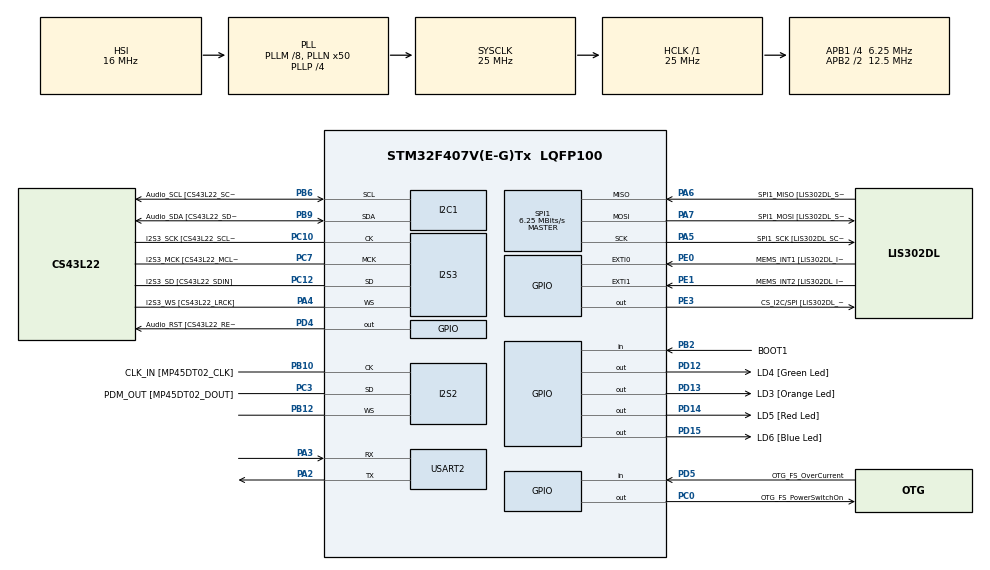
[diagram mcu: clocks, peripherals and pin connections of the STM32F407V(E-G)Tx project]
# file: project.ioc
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I2S2.AudioFreq=I2S_AUDIOFREQ_44K
I2S2.ErrorAudioFreq=0.26 %
I2S2.Mode=I2S_MODE_MASTER_RX
I2S2.RealAudioFreq=44.117 KHz
I2S3.AudioFreq=I2S_AUDIOFREQ_44K
I2S3.ErrorAudioFreq=0.26 %
I2S3.RealAudioFreq=44.117 KHz
Mcu.Family=STM32F4
Mcu.Name=STM32F407V(E-G)Tx
Mcu.Package=LQFP100
NVIC.PriorityGroup=NVIC_PRIORITYGROUP_0
PA10.GPIO_Label=OTG_FS_ID
PA10.GPIO_Mode=GPIO_MODE_AF_PP
PA10.GPIO_PuPd=GPIO_NOPULL
PA10.GPIO_Speed=GPIO_SPEED_FREQ_LOW
PA10.Signal=USB_OTG_FS_ID
PA11.GPIO_Label=OTG_FS_DM
PA11.GPIO_Mode=GPIO_MODE_AF_PP
PA11.GPIO_PuPd=GPIO_NOPULL
PA11.GPIO_Speed=GPIO_SPEED_FREQ_LOW
PA11.Signal=USB_OTG_FS_DM
PA12.GPIO_Label=OTG_FS_DP
PA12.GPIO_Mode=GPIO_MODE_AF_PP
PA12.GPIO_PuPd=GPIO_NOPULL
PA12.GPIO_Speed=GPIO_SPEED_FREQ_LOW
PA12.Signal=USB_OTG_FS_DP
PA13.GPIO_Label=SWDIO
PA13.Signal=SYS_JTMS-SWDIO
PA14.GPIO_Label=SWCLK
PA14.Signal=SYS_JTCK-SWCLK
PA2.Mode=Asynchronous
PA2.Signal=USART2_TX
PA3.Mode=Asynchronous
PA3.Signal=USART2_RX
PA4.GPIO_Label=I2S3_WS [CS43L22_LRCK]
PA4.GPIO_Mode=GPIO_MODE_AF_PP
PA4.GPIO_PuPd=GPIO_NOPULL
PA4.GPIO_Speed=GPIO_SPEED_FREQ_LOW
PA4.Mode=Half_Duplex_Master
PA4.Signal=I2S3_WS
PA5.GPIO_Label=SPI1_SCK [LIS302DL_SCL/SPC]
PA5.GPIO_Mode=GPIO_MODE_AF_PP
PA5.GPIO_PuPd=GPIO_NOPULL
PA5.GPIO_Speed=GPIO_SPEED_FREQ_LOW
PA5.Mode=Full_Duplex_Master
PA5.Signal=SPI1_SCK
PA6.GPIO_Label=SPI1_MISO [LIS302DL_SDO]
PA6.GPIO_Mode=GPIO_MODE_AF_PP
PA6.GPIO_PuPd=GPIO_NOPULL
PA6.GPIO_Speed=GPIO_SPEED_FREQ_LOW
PA6.Mode=Full_Duplex_Master
PA6.Signal=SPI1_MISO
PA7.GPIO_Label=SPI1_MOSI [LIS302DL_SDA/SDI/SDO]
PA7.GPIO_Mode=GPIO_MODE_AF_PP
PA7.GPIO_PuPd=GPIO_NOPULL
PA7.GPIO_Speed=GPIO_SPEED_FREQ_LOW
PA7.Mode=Full_Duplex_Master
PA7.Signal=SPI1_MOSI
PA9.GPIO_Label=VBUS_FS
PA9.GPIO_Mode=GPIO_MODE_INPUT
PA9.GPIO_PuPd=GPIO_NOPULL
PA9.Signal=USB_OTG_FS_VBUS
PB10.GPIO_Label=CLK_IN [MP45DT02_CLK]
PB10.GPIO_Mode=GPIO_MODE_AF_PP
PB10.GPIO_PuPd=GPIO_NOPULL
PB10.GPIO_Speed=GPIO_SPEED_FREQ_LOW
PB10.Mode=Half_Duplex_Master
PB10.Signal=I2S2_CK
PB12.Mode=Half_Duplex_Master
PB12.Signal=I2S2_WS
PB2.GPIO_Label=BOOT1
PB2.GPIO_Mode=GPIO_MODE_INPUT
PB2.GPIO_PuPd=GPIO_NOPULL
PB2.Signal=GPIO_Input
PB3.GPIO_Label=SWO
PB3.Signal=SYS_JTDO-SWO
PB6.GPIO_Label=Audio_SCL [CS43L22_SCL]
PB6.GPIO_Mode=GPIO_MODE_AF_OD
PB6.GPIO_PuPd=GPIO_NOPULL
PB6.GPIO_Speed=GPIO_SPEED_FREQ_LOW
PB6.Mode=I2C
PB6.Signal=I2C1_SCL
PB9.GPIO_Label=Audio_SDA [CS43L22_SDA]
PB9.GPIO_Mode=GPIO_MODE_AF_OD
PB9.GPIO_PuPd=GPIO_NOPULL
PB9.GPIO_Speed=GPIO_SPEED_FREQ_LOW
PB9.Mode=I2C
PB9.Signal=I2C1_SDA
PC0.GPIO_Label=OTG_FS_PowerSwitchOn
PC0.GPIO_PuPd=GPIO_NOPULL
PC0.GPIO_Speed=GPIO_SPEED_FREQ_LOW
PC0.PinState=GPIO_PIN_SET
PC0.Signal=GPIO_Output
PC10.GPIO_Label=I2S3_SCK [CS43L22_SCLK]
PC10.GPIO_Mode=GPIO_MODE_AF_PP
PC10.GPIO_PuPd=GPIO_NOPULL
PC10.GPIO_Speed=GPIO_SPEED_FREQ_LOW
PC10.Mode=Half_Duplex_Master
PC10.Signal=I2S3_CK
PC12.GPIO_Label=I2S3_SD [CS43L22_SDIN]
PC12.GPIO_Mode=GPIO_MODE_AF_PP
PC12.GPIO_PuPd=GPIO_NOPULL
PC12.GPIO_Speed=GPIO_SPEED_FREQ_LOW
PC12.Mode=Half_Duplex_Master
PC12.Signal=I2S3_SD
PC14-OSC32_IN.GPIO_Label=PC14-OSC32_IN
PC14-OSC32_IN.Signal=RCC_OSC32_IN
PC15-OSC32_OUT.GPIO_Label=PC15-OSC32_OUT
PC15-OSC32_OUT.Signal=RCC_OSC32_OUT
PC3.GPIO_Label=PDM_OUT [MP45DT02_DOUT]
PC3.GPIO_Mode=GPIO_MODE_AF_PP
PC3.GPIO_PuPd=GPIO_NOPULL
PC3.GPIO_Speed=GPIO_SPEED_FREQ_LOW
PC3.Mode=Half_Duplex_Master
PC3.Signal=I2S2_SD
PC7.GPIO_Label=I2S3_MCK [CS43L22_MCLK]
PC7.GPIO_Mode=GPIO_MODE_AF_PP
PC7.GPIO_PuPd=GPIO_NOPULL
PC7.GPIO_Speed=GPIO_SPEED_FREQ_LOW
PC7.Mode=Master_Clock_Activated
PC7.Signal=I2S3_MCK
PD12.GPIO_Label=LD4 [Green Led]
PD12.GPIO_PuPd=GPIO_NOPULL
PD12.GPIO_Speed=GPIO_SPEED_FREQ_LOW
PD12.Signal=GPIO_Output
PD13.GPIO_Label=LD3 [Orange Led]
PD13.GPIO_PuPd=GPIO_NOPULL
PD13.GPIO_Speed=GPIO_SPEED_FREQ_LOW
PD13.Signal=GPIO_Output
PD14.GPIO_Label=LD5 [Red Led]
PD14.GPIO_PuPd=GPIO_NOPULL
PD14.GPIO_Speed=GPIO_SPEED_FREQ_LOW
PD14.Signal=GPIO_Output
PD15.GPIO_Label=LD6 [Blue Led]
PD15.GPIO_PuPd=GPIO_NOPULL
PD15.GPIO_Speed=GPIO_SPEED_FREQ_LOW
PD15.Signal=GPIO_Output
PD4.GPIO_Label=Audio_RST [CS43L22_RESET]
PD4.GPIO_PuPd=GPIO_NOPULL
PD4.GPIO_Speed=GPIO_SPEED_FREQ_LOW
PD4.Signal=GPIO_Output
PD5.GPIO_Label=OTG_FS_OverCurrent
PD5.GPIO_Mode=GPIO_MODE_INPUT
PD5.GPIO_PuPd=GPIO_NOPULL
PD5.Signal=GPIO_Input
PE0.GPIO_Label=MEMS_INT1 [LIS302DL_INT1]
PE0.Signal=GPXTI0
PE1.GPIO_Label=MEMS_INT2 [LIS302DL_INT2]
PE1.GPIO_ModeDefaultEXTI=GPIO_MODE_EVT_RISING
PE1.GPIO_PuPd=GPIO_NOPULL
PE1.Signal=GPXTI1
PE3.GPIO_Label=CS_I2C/SPI [LIS302DL_CS_I2C/SPI]
PE3.GPIO_PuPd=GPIO_NOPULL
PE3.GPIO_Speed=GPIO_SPEED_FREQ_LOW
PE3.Signal=GPIO_Output
PH0-OSC_IN.GPIO_Label=PH0-OSC_IN
PH0-OSC_IN.Signal=RCC_OSC_IN
PH1-OSC_OUT.GPIO_Label=PH1-OSC_OUT
PH1-OSC_OUT.Signal=RCC_OSC_OUT
ProjectManager.HeapSize=0x200
ProjectManager.StackSize=0x400
ProjectManager.TargetToolchain=SW4STM32
RCC.48MHZClocksFreq_Value=14285714.285714285
RCC.AHBFreq_Value=25000000
RCC.APB1CLKDivider=RCC_HCLK_DIV4
RCC.APB1Freq_Value=6250000
RCC.APB1TimFreq_Value=12500000
RCC.APB2CLKDivider=RCC_HCLK_DIV2
RCC.APB2Freq_Value=12500000
RCC.APB2TimFreq_Value=25000000
RCC.CortexFreq_Value=25000000
RCC.HCLKFreq_Value=25000000
RCC.HSE_VALUE=8000000
RCC.HSI_VALUE=16000000
RCC.LSE_VALUE=32768
RCC.PLLM=8
RCC.PLLN=50
RCC.PLLP=RCC_PLLP_DIV4
RCC.PLLQ=7
RCC.SYSCLKFreq_VALUE=25000000
RCC.SYSCLKSource=RCC_SYSCLKSOURCE_PLLCLK
RCC.VCOOutputFreq_Value=100000000
SPI1.CalculateBaudRate=6.25 MBits/s
SPI1.Mode=SPI_MODE_MASTER
board=STM32F407G-DISC1

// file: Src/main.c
/**
 ******************************************************************************
 * File Name          : main.c
 * Description        : Main program body
 ******************************************************************************
 *
 * COPYRIGHT(c) 2559 STMicroelectronics
 *
 * Redistribution and use in source and binary forms, with or without modification,
 * are permitted provided that the following conditions are met:
 *   1. Redistributions of source code must retain the above copyright notice,
 *      this list of conditions and the following disclaimer.
 *   2. Redistributions in binary form must reproduce the above copyright notice,
 *      this list of conditions and the following disclaimer in the documentation
 *      and/or other materials provided with the distribution.
 *   3. Neither the name of STMicroelectronics nor the names of its contributors
 *      may be used to endorse or promote products derived from this software
 *      without specific prior written permission.
 *
 * THIS SOFTWARE IS PROVIDED BY THE COPYRIGHT HOLDERS AND CONTRIBUTORS "AS IS"
 * AND ANY EXPRESS OR IMPLIED WARRANTIES, INCLUDING, BUT NOT LIMITED TO, THE
 * IMPLIED WARRANTIES OF MERCHANTABILITY AND FITNESS FOR A PARTICULAR PURPOSE ARE
 * DISCLAIMED. IN NO EVENT SHALL THE COPYRIGHT HOLDER OR CONTRIBUTORS BE LIABLE
 * FOR ANY DIRECT, INDIRECT, INCIDENTAL, SPECIAL, EXEMPLARY, OR CONSEQUENTIAL
 * DAMAGES (INCLUDING, BUT NOT LIMITED TO, PROCUREMENT OF SUBSTITUTE GOODS OR
 * SERVICES; LOSS OF USE, DATA, OR PROFITS; OR BUSINESS INTERRUPTION) HOWEVER
 * CAUSED AND ON ANY THEORY OF LIABILITY, WHETHER IN CONTRACT, STRICT LIABILITY,
 * OR TORT (INCLUDING NEGLIGENCE OR OTHERWISE) ARISING IN ANY WAY OUT OF THE USE
 * OF THIS SOFTWARE, EVEN IF ADVISED OF THE POSSIBILITY OF SUCH DAMAGE.
 *
 ******************************************************************************
 */
#include "main.h"
#include "stm32f4xx_hal.h"

#define PDM_BUFFER_SIZE 20
#define PCM_BUFFER_SIZE 2500
#define LEAKY_KEEP_RATE 0.95
#define UART_DEBUG_TICK_RATE 100
#define PDM_BLOCK_SIZE_BITS 16

I2C_HandleTypeDef hi2c1;

I2S_HandleTypeDef hi2s2;
I2S_HandleTypeDef hi2s3;

SPI_HandleTypeDef hspi1;

UART_HandleTypeDef huart2;

/* USER CODE BEGIN PV */
/* Private variables ---------------------------------------------------------*/
uint8_t soundArg[2];
uint16_t Istr[1];
int xPos = 0;
int yPos = 0;

/* USER CODE END PV */

void SystemClock_Config(void);
void Error_Handler(void);
static void MX_GPIO_Init(void);
static void MX_I2C1_Init(void);
static void MX_I2S2_Init(void);
static void MX_I2S3_Init(void);
static void MX_SPI1_Init(void);
static void MX_USART2_UART_Init(void);

float absFloat(float in) {
	return in < 0 ? -in : in;
}

void Update(int p) {
	switch (p) {
	case 0:
		HAL_UART_Transmit(&huart2, "RESET ALL TRACK !!!", 19, 100000);
		HAL_UART_Transmit(&huart2, "\n\r", 2, 100000);
		xPos = 0;
		yPos = 0;
		break;
	case 1:
		HAL_UART_Transmit(&huart2, "LEFT", 4, 100000);
		HAL_UART_Transmit(&huart2, "\n\r", 2, 100000);
		xPos -= 1;
		yPos += 0;
		break;
	case 2:
		HAL_UART_Transmit(&huart2, "LEFT-UP", 7, 100000);
		HAL_UART_Transmit(&huart2, "\n\r", 2, 100000);
		xPos -= 1;
		yPos += 1;
		break;
	case 3:
		HAL_UART_Transmit(&huart2, "UP", 2, 100000);
		HAL_UART_Transmit(&huart2, "\n\r", 2, 100000);
		xPos += 0;
		yPos += 1;
		break;
	case 4:
		HAL_UART_Transmit(&huart2, "RIGHT-UP", 8, 100000);
		HAL_UART_Transmit(&huart2, "\n\r", 2, 100000);
		xPos += 1;
		yPos += 1;
		break;
	case 5:
		HAL_UART_Transmit(&huart2, "RIGHT", 5, 100000);
		HAL_UART_Transmit(&huart2, "\n\r", 2, 100000);
		xPos += 1;
		yPos += 0;
		break;
	case 6:
		HAL_UART_Transmit(&huart2, "RIGHT-DOWN", 10, 100000);
		HAL_UART_Transmit(&huart2, "\n\r", 2, 100000);
		xPos += 1;
		yPos -= 1;
		break;
	case 7:
		HAL_UART_Transmit(&huart2, "DOWN", 4, 100000);
		HAL_UART_Transmit(&huart2, "\n\r", 2, 100000);
		xPos += 0;
		yPos -= 1;
		break;
	case 8:
		HAL_UART_Transmit(&huart2, "LEFT-RIGHT", 10, 100000);
		HAL_UART_Transmit(&huart2, "\n\r", 2, 100000);
		xPos -= 1;
		yPos -= 1;
		break;
	default :
		HAL_UART_Transmit(&huart2, "STOP", 4, 100000);
		HAL_UART_Transmit(&huart2, "\n\r", 2, 100000);
		xPos += 0;
		yPos += 0;
		break;
	}
}

void PlaySound(int n) {

	// Off
	soundArg[0] = 0x1E;
	soundArg[1] = 0x20;
	HAL_I2C_Master_Transmit(&hi2c1, 0x94, soundArg, 2, 50);

	// Change note
	soundArg[0] = 0x1C;
	soundArg[1] = 0x1F;
	HAL_I2C_Master_Transmit(&hi2c1, 0x94, soundArg, 2, 50);

	// On
	soundArg[0] = 0x1E;
	soundArg[1] = 0xE0;
	HAL_I2C_Master_Transmit(&hi2c1, 0x94, soundArg, 2, 50);

	int i;
	for (i = 0; i < n; i++)
		HAL_I2S_Transmit(&hi2s3, Istr, 200, 10);
}

void InitAcc() {
	uint8_t address;
	uint8_t data;

	HAL_GPIO_WritePin(GPIOE, GPIO_PIN_3, GPIO_PIN_RESET);

	address = 0x20;
	HAL_SPI_Transmit(&hspi1, &address, 1, 50);

	data = 0x67;
	HAL_SPI_Transmit(&hspi1, &data, 1, 50);

	HAL_GPIO_WritePin(GPIOE, GPIO_PIN_3, GPIO_PIN_SET);
}

void InitSound() {

	Istr[0] = 0;
	//not sure if this is needed but i just put it here
	if (HAL_I2S_Transmit(&hi2s3, Istr, 0x10, 10) != HAL_OK) {
		HAL_GPIO_WritePin(GPIOD, GPIO_PIN_12, 1);
	}
	HAL_GPIO_WritePin(GPIOD, GPIO_PIN_4, 0);  //Reset is set down
	//confirmation LED
	HAL_Delay(500);
	//Initialization sequence for CS43L22:
	HAL_GPIO_WritePin(GPIOD, GPIO_PIN_4, 1); //Reset is set Up (Power CS43L22)
	HAL_Delay(500);
	soundArg[0] = 0x00;
	soundArg[1] = 0x99;
	//check if transfer failed. If so: turn on Red LED
	if (HAL_I2C_Master_Transmit(&hi2c1, 0x94, soundArg, 2, 50) != HAL_OK) {
		HAL_GPIO_WritePin(GPIOD, GPIO_PIN_13, 1);
	}
	soundArg[0] = 0x47;
	soundArg[1] = 0x80;
	if (HAL_I2C_Master_Transmit(&hi2c1, 0x94, soundArg, 2, 50) != HAL_OK) {
		HAL_GPIO_WritePin(GPIOD, GPIO_PIN_14, 1);
	}
	soundArg[0] = 0x32;
	soundArg[1] = 0x80; // 0xBB or 0x80
	if (HAL_I2C_Master_Transmit(&hi2c1, 0x94, soundArg, 2, 50) != HAL_OK) {
		HAL_GPIO_WritePin(GPIOD, GPIO_PIN_15, 1);
	}
	soundArg[0] = 0x32;
	soundArg[1] = 0x00; // 0x3B or 0x00
	if (HAL_I2C_Master_Transmit(&hi2c1, 0x94, soundArg, 2, 50) != HAL_OK) {
		HAL_GPIO_WritePin(GPIOD, GPIO_PIN_12, 1);
		HAL_GPIO_WritePin(GPIOD, GPIO_PIN_13, 1);
	}
	soundArg[0] = 0x00;
	soundArg[1] = 0x00;
	if (HAL_I2C_Master_Transmit(&hi2c1, 0x94, soundArg, 2, 50) != HAL_OK) {
		HAL_GPIO_WritePin(GPIOD, GPIO_PIN_12, 1);
		HAL_GPIO_WritePin(GPIOD, GPIO_PIN_14, 1);
	}
	soundArg[0] = 0x06;
	soundArg[1] = 0x00;
	if (HAL_I2C_Master_Transmit(&hi2c1, 0x94, soundArg, 2, 50) != HAL_OK) {
		HAL_GPIO_WritePin(GPIOD, GPIO_PIN_12, 1);
		HAL_GPIO_WritePin(GPIOD, GPIO_PIN_14, 1);
	}
	soundArg[0] = 0x02;
	soundArg[1] = 0x9E;
	if (HAL_I2C_Master_Transmit(&hi2c1, 0x94, soundArg, 2, 50) != HAL_OK) {
		HAL_GPIO_WritePin(GPIOD, GPIO_PIN_13, 1);
		HAL_GPIO_WritePin(GPIOD, GPIO_PIN_14, 1);
	}
}

/* USER CODE BEGIN PFP */
/* Private function prototypes -----------------------------------------------*/

/* USER CODE END PFP */

int main(void) {

	/* USER CODE BEGIN 1 */
	uint8_t i;
	uint16_t PDM_buffer[PDM_BUFFER_SIZE]; // Buffer for pdm value from hi2s2 (Mic)
	uint16_t PDM_value = 0;
	uint8_t PCM_value = 0;    // For keeping pcm value calculated from pdm_value
							  // value range is 0-16, 8-bit is chosen because it
							  // can store 0-255
	uint16_t PCM_count = 0;

	char uartTempDisplay_buffer[100];

	float leaky_PCM_buffer = 0.0;    // Fast Estimation of moving average of PDM
	float leaky_AMP_buffer = 0.0; // Fast Estimation of moving average of abs(PCM)

	double PCM_square = 0;
	float maxAmp = 0;
	/* USER CODE END 1 */

	/* MCU Configuration----------------------------------------------------------*/

	/* Reset of all peripherals, Initializes the Flash interface and the Systick. */
	HAL_Init();

	/* Configure the system clock */
	SystemClock_Config();

	/* Initialize all configured peripherals */
	MX_GPIO_Init();
	MX_I2C1_Init();
	MX_I2S2_Init();
	MX_I2S3_Init();
	MX_SPI1_Init();
	MX_USART2_UART_Init();

	/* USER CODE BEGIN 2 */
	InitAcc();
	InitSound();

	uint8_t address;
	uint8_t data;
	int8_t x, y, z = 0;

	uint8_t bit1;
	uint8_t bit0;

	int numTrack;

	HAL_UART_Transmit(&huart2, "\t\tThe Position of You", 21, 100000);
	HAL_UART_Transmit(&huart2, "\n\r", 2, 100000);
	HAL_UART_Transmit(&huart2,
			"You can INPUT 01 to 99 only if you input other ", 47, 100000);
	HAL_UART_Transmit(&huart2, "\n\r", 2, 100000);
	HAL_UART_Transmit(&huart2, "No. of your track 1: ", 22, 100000);
	HAL_UART_Receive(&huart2, &bit1, 1, 100000);
	HAL_UART_Transmit(&huart2, &bit1, 1, 100000);
	HAL_UART_Transmit(&huart2, "\n\r", 2, 100000);
	HAL_UART_Transmit(&huart2, "No. of your track 0: ", 22, 100000);
	HAL_UART_Receive(&huart2, &bit0, 1, 100000);
	HAL_UART_Transmit(&huart2, &bit0, 1, 100000);
	HAL_UART_Transmit(&huart2, "\n\r", 2, 100000);
	numTrack = (bit1 - '0') * 10 + (bit0 - '0');

	HAL_UART_Transmit(&huart2, "Your will tend board to choose position of your track.\n\r", 56, 100000);
	HAL_UART_Transmit(&huart2, "You can blow microphone to RESET track.\n\r", 41, 100000);

	int num = 0;
	int pos = -1;

	int check = 0;

	/* USER CODE END 2 */

	/* Infinite loop */
	while (1) {

		/* USER CODE BEGIN 3 */
		//Acc---------------------------------------------------------------
		HAL_GPIO_WritePin(GPIOE, GPIO_PIN_3, GPIO_PIN_RESET);
		address = 0x29 + 0x80;
		HAL_SPI_Transmit(&hspi1, &address, 1, 50);
		HAL_SPI_Receive(&hspi1, &x, 1, 50);
		address = 0x2B + 0x80;
		HAL_SPI_Transmit(&hspi1, &address, 1, 50);
		HAL_SPI_Receive(&hspi1, &y, 1, 50);
		address = 0x2D + 0x80;
		HAL_SPI_Transmit(&hspi1, &address, 1, 50);
		HAL_SPI_Receive(&hspi1, &z, 1, 50);
		//LEFT
		if (x <= -15) {
			HAL_GPIO_WritePin(GPIOD, GPIO_PIN_12, GPIO_PIN_SET);

			//UP
			if (y >= 15) {
				HAL_GPIO_WritePin(GPIOD, GPIO_PIN_15, GPIO_PIN_RESET);
				HAL_GPIO_WritePin(GPIOD, GPIO_PIN_13, GPIO_PIN_SET);
				pos = 2;
			} else if (y <= -15) {
				HAL_GPIO_WritePin(GPIOD, GPIO_PIN_13, GPIO_PIN_RESET);
				HAL_GPIO_WritePin(GPIOD, GPIO_PIN_15, GPIO_PIN_SET);
				pos = 8;
			} else {
				pos = 1;
				HAL_GPIO_WritePin(GPIOD, GPIO_PIN_15, GPIO_PIN_RESET);
				HAL_GPIO_WritePin(GPIOD, GPIO_PIN_13, GPIO_PIN_RESET);
			}

		} else {
			HAL_GPIO_WritePin(GPIOD, GPIO_PIN_12, GPIO_PIN_RESET);
		}
		//RIGHT
		if (x >= 15) {
			HAL_GPIO_WritePin(GPIOD, GPIO_PIN_14, GPIO_PIN_SET);

			//UPs
			if (y >= 15) {
				HAL_GPIO_WritePin(GPIOD, GPIO_PIN_15, GPIO_PIN_RESET);
				HAL_GPIO_WritePin(GPIOD, GPIO_PIN_13, GPIO_PIN_SET);
				pos = 4;
			} else if (y <= -15) {
				HAL_GPIO_WritePin(GPIOD, GPIO_PIN_13, GPIO_PIN_RESET);
				HAL_GPIO_WritePin(GPIOD, GPIO_PIN_15, GPIO_PIN_SET);
				pos = 6;
			} else {
				pos = 5;
				HAL_GPIO_WritePin(GPIOD, GPIO_PIN_15, GPIO_PIN_RESET);
				HAL_GPIO_WritePin(GPIOD, GPIO_PIN_13, GPIO_PIN_RESET);
			}
		} else {
			HAL_GPIO_WritePin(GPIOD, GPIO_PIN_14, GPIO_PIN_RESET);
		}
		//UP
		if (y >= 15 && x > -15 && x < 15) {
			HAL_GPIO_WritePin(GPIOD, GPIO_PIN_13, GPIO_PIN_SET);
			pos = 3;
		} else if (x > -15 && x < 15) {
			HAL_GPIO_WritePin(GPIOD, GPIO_PIN_13, GPIO_PIN_RESET);
		}
		//DOWN
		if (y <= -15 && x > -15 && x < 15) {
			HAL_GPIO_WritePin(GPIOD, GPIO_PIN_15, GPIO_PIN_SET);
			pos = 7;
		} else if (x > -15 && x < 15) {
			HAL_GPIO_WritePin(GPIOD, GPIO_PIN_15, GPIO_PIN_RESET);
		}

		if(x > -15 && x < 15 && y > -15 && y < 15) {
			pos = -1;
			HAL_GPIO_WritePin(GPIOD, GPIO_PIN_12, GPIO_PIN_RESET);
			HAL_GPIO_WritePin(GPIOD, GPIO_PIN_13, GPIO_PIN_RESET);
			HAL_GPIO_WritePin(GPIOD, GPIO_PIN_14, GPIO_PIN_RESET);
			HAL_GPIO_WritePin(GPIOD, GPIO_PIN_15, GPIO_PIN_RESET);
		}

		HAL_GPIO_WritePin(GPIOE, GPIO_PIN_3, GPIO_PIN_SET);

		HAL_I2S_Receive(&hi2s2, PDM_buffer, PDM_BUFFER_SIZE, 1000);
		for (i = 0; i < PDM_BUFFER_SIZE; i++) {
			PCM_value = -PDM_BLOCK_SIZE_BITS / 2;
			PDM_value = PDM_buffer[i];
			// calculate PCM value
			while (PDM_value != 0)    // while pdm_value still have 1s in binary
			{
				PCM_value++;
				PDM_value ^= PDM_value & -PDM_value; // remove left most 1 in binary
			}
			leaky_PCM_buffer += PCM_value;
			leaky_PCM_buffer *= LEAKY_KEEP_RATE;
			leaky_AMP_buffer += absFloat(leaky_PCM_buffer);
			leaky_AMP_buffer *= LEAKY_KEEP_RATE;
		}
		PCM_count++;
		if (maxAmp < leaky_AMP_buffer)
			maxAmp = leaky_AMP_buffer;
		PCM_square += (leaky_AMP_buffer / 2500) * leaky_AMP_buffer;
		if (PCM_count == 2500) {
			if (maxAmp > 70000) {
				num = 0;
				Update(0);
				PlaySound(1000);
			}
			PCM_count = 0;
			PCM_square = 0;
			maxAmp = 0;
		}

		if (HAL_GPIO_ReadPin(GPIOA, GPIO_PIN_0) && check == 0) {
			num++;
			Update(pos);
			check = 1;
		}

		if (HAL_GPIO_ReadPin(GPIOA, GPIO_PIN_0) == 0 && check == 1) {
			check = 0;
		}

		if (num == numTrack) {
			HAL_UART_Transmit(&huart2,
					"YEAH !!! FINISH !!!\n\r   Your Position is ", 41, 100000);
			if (xPos < 0 && yPos == 0)
				HAL_UART_Transmit(&huart2, "// WEST \\ ", 11, 100000);
			else if (xPos < 0 && yPos > 0)
				HAL_UART_Transmit(&huart2, "// WEST-NORTH \\ ", 17, 100000);
			else if (xPos == 0 && yPos > 0)
				HAL_UART_Transmit(&huart2, "// NORTH \\ ", 12, 100000);
			else if (xPos > 0 && yPos > 0)
				HAL_UART_Transmit(&huart2, "// EAST-NORTH \\ ", 17, 100000);
			else if (xPos > 0 && yPos == 0)
				HAL_UART_Transmit(&huart2, "// EAST \\ ", 11, 100000);
			else if (xPos > 0 && yPos < 0)
				HAL_UART_Transmit(&huart2, "// EAST-SOUTH \\ ", 17, 100000);
			else if (xPos == 0 && yPos < 0)
				HAL_UART_Transmit(&huart2, "// SOUTH \\ ", 12, 100000);
			else if (xPos < 0 && yPos < 0)
				HAL_UART_Transmit(&huart2, "// WEST-SOUTH \\ ", 17, 100000);
			else
				HAL_UART_Transmit(&huart2, "// SAME POSITION \\ ", 22, 100000);

			HAL_UART_Transmit(&huart2, " From Start\n\r", 14, 100000);

			HAL_Delay(250);
			PlaySound(200);
			HAL_Delay(250);
			PlaySound(200);
			HAL_Delay(250);
			PlaySound(200);
			HAL_Delay(250);

			HAL_UART_Transmit(&huart2, "\n\r", 2, 100000);
			HAL_UART_Transmit(&huart2,
					"---------------------------------------------------------------------", 70,
					100000);
			HAL_UART_Transmit(&huart2, "\n\r", 2, 100000);
			HAL_UART_Transmit(&huart2,
					"If you want try again, you will click RESET button on your board.",
					65, 100000);
			HAL_UART_Transmit(&huart2, "\n\r", 2, 100000);
			HAL_UART_Transmit(&huart2,
					"---------------------------------------------------------------------", 70,
					100000);
			HAL_UART_Transmit(&huart2, "\n\r", 2, 100000);
			break;
		}

	}
}
/* USER CODE END 3 */

/** System Clock Configuration
 */
void SystemClock_Config(void) {

	RCC_OscInitTypeDef RCC_OscInitStruct;
	RCC_ClkInitTypeDef RCC_ClkInitStruct;
	RCC_PeriphCLKInitTypeDef PeriphClkInitStruct;

	/**Configure the main internal regulator output voltage
	 */
	__HAL_RCC_PWR_CLK_ENABLE()
	;

	__HAL_PWR_VOLTAGESCALING_CONFIG(PWR_REGULATOR_VOLTAGE_SCALE1);

	/**Initializes the CPU, AHB and APB busses clocks
	 */
	RCC_OscInitStruct.OscillatorType = RCC_OSCILLATORTYPE_HSI;
	RCC_OscInitStruct.HSIState = RCC_HSI_ON;
	RCC_OscInitStruct.HSICalibrationValue = 16;
	RCC_OscInitStruct.PLL.PLLState = RCC_PLL_ON;
	RCC_OscInitStruct.PLL.PLLSource = RCC_PLLSOURCE_HSI;
	RCC_OscInitStruct.PLL.PLLM = 8;
	RCC_OscInitStruct.PLL.PLLN = 50;
	RCC_OscInitStruct.PLL.PLLP = RCC_PLLP_DIV4;
	RCC_OscInitStruct.PLL.PLLQ = 7;
	if (HAL_RCC_OscConfig(&RCC_OscInitStruct) != HAL_OK) {
		Error_Handler();
	}

	/**Initializes the CPU, AHB and APB busses clocks
	 */
	RCC_ClkInitStruct.ClockType = RCC_CLOCKTYPE_HCLK | RCC_CLOCKTYPE_SYSCLK
			| RCC_CLOCKTYPE_PCLK1 | RCC_CLOCKTYPE_PCLK2;
	RCC_ClkInitStruct.SYSCLKSource = RCC_SYSCLKSOURCE_PLLCLK;
	RCC_ClkInitStruct.AHBCLKDivider = RCC_SYSCLK_DIV1;
	RCC_ClkInitStruct.APB1CLKDivider = RCC_HCLK_DIV4;
	RCC_ClkInitStruct.APB2CLKDivider = RCC_HCLK_DIV2;

	if (HAL_RCC_ClockConfig(&RCC_ClkInitStruct, FLASH_LATENCY_0) != HAL_OK) {
		Error_Handler();
	}

	PeriphClkInitStruct.PeriphClockSelection = RCC_PERIPHCLK_I2S;
	PeriphClkInitStruct.PLLI2S.PLLI2SN = 192;
	PeriphClkInitStruct.PLLI2S.PLLI2SR = 2;
	if (HAL_RCCEx_PeriphCLKConfig(&PeriphClkInitStruct) != HAL_OK) {
		Error_Handler();
	}

	/**Configure the Systick interrupt time
	 */
	HAL_SYSTICK_Config(HAL_RCC_GetHCLKFreq() / 1000);

	/**Configure the Systick
	 */
	HAL_SYSTICK_CLKSourceConfig(SYSTICK_CLKSOURCE_HCLK);

	/* SysTick_IRQn interrupt configuration */
	HAL_NVIC_SetPriority(SysTick_IRQn, 0, 0);
}

/* I2C1 init function */
static void MX_I2C1_Init(void) {

	hi2c1.Instance = I2C1;
	hi2c1.Init.ClockSpeed = 100000;
	hi2c1.Init.DutyCycle = I2C_DUTYCYCLE_2;
	hi2c1.Init.OwnAddress1 = 0;
	hi2c1.Init.AddressingMode = I2C_ADDRESSINGMODE_7BIT;
	hi2c1.Init.DualAddressMode = I2C_DUALADDRESS_DISABLE;
	hi2c1.Init.OwnAddress2 = 0;
	hi2c1.Init.GeneralCallMode = I2C_GENERALCALL_DISABLE;
	hi2c1.Init.NoStretchMode = I2C_NOSTRETCH_DISABLE;
	if (HAL_I2C_Init(&hi2c1) != HAL_OK) {
		Error_Handler();
	}

}

/* I2S2 init function */
static void MX_I2S2_Init(void) {

	hi2s2.Instance = SPI2;
	hi2s2.Init.Mode = I2S_MODE_MASTER_RX;
	hi2s2.Init.Standard = I2S_STANDARD_PHILIPS;
	hi2s2.Init.DataFormat = I2S_DATAFORMAT_16B;
	hi2s2.Init.MCLKOutput = I2S_MCLKOUTPUT_DISABLE;
	hi2s2.Init.AudioFreq = I2S_AUDIOFREQ_44K;
	hi2s2.Init.CPOL = I2S_CPOL_LOW;
	hi2s2.Init.ClockSource = I2S_CLOCK_PLL;
	hi2s2.Init.FullDuplexMode = I2S_FULLDUPLEXMODE_DISABLE;
	if (HAL_I2S_Init(&hi2s2) != HAL_OK) {
		Error_Handler();
	}

}

/* I2S3 init function */
static void MX_I2S3_Init(void) {

	hi2s3.Instance = SPI3;
	hi2s3.Init.Mode = I2S_MODE_MASTER_TX;
	hi2s3.Init.Standard = I2S_STANDARD_PHILIPS;
	hi2s3.Init.DataFormat = I2S_DATAFORMAT_16B;
	hi2s3.Init.MCLKOutput = I2S_MCLKOUTPUT_ENABLE;
	hi2s3.Init.AudioFreq = I2S_AUDIOFREQ_44K;
	hi2s3.Init.CPOL = I2S_CPOL_LOW;
	hi2s3.Init.ClockSource = I2S_CLOCK_PLL;
	hi2s3.Init.FullDuplexMode = I2S_FULLDUPLEXMODE_DISABLE;
	if (HAL_I2S_Init(&hi2s3) != HAL_OK) {
		Error_Handler();
	}

}

/* SPI1 init function */
static void MX_SPI1_Init(void) {

	hspi1.Instance = SPI1;
	hspi1.Init.Mode = SPI_MODE_MASTER;
	hspi1.Init.Direction = SPI_DIRECTION_2LINES;
	hspi1.Init.DataSize = SPI_DATASIZE_8BIT;
	hspi1.Init.CLKPolarity = SPI_POLARITY_LOW;
	hspi1.Init.CLKPhase = SPI_PHASE_1EDGE;
	hspi1.Init.NSS = SPI_NSS_SOFT;
	hspi1.Init.BaudRatePrescaler = SPI_BAUDRATEPRESCALER_2;
	hspi1.Init.FirstBit = SPI_FIRSTBIT_MSB;
	hspi1.Init.TIMode = SPI_TIMODE_DISABLE;
	hspi1.Init.CRCCalculation = SPI_CRCCALCULATION_DISABLE;
	hspi1.Init.CRCPolynomial = 10;
	if (HAL_SPI_Init(&hspi1) != HAL_OK) {
		Error_Handler();
	}

}

/* USART2 init function */
static void MX_USART2_UART_Init(void) {

	huart2.Instance = USART2;
	huart2.Init.BaudRate = 115200;
	huart2.Init.WordLength = UART_WORDLENGTH_8B;
	huart2.Init.StopBits = UART_STOPBITS_1;
	huart2.Init.Parity = UART_PARITY_NONE;
	huart2.Init.Mode = UART_MODE_TX_RX;
	huart2.Init.HwFlowCtl = UART_HWCONTROL_NONE;
	huart2.Init.OverSampling = UART_OVERSAMPLING_16;
	if (HAL_UART_Init(&huart2) != HAL_OK) {
		Error_Handler();
	}

}

/** Configure pins as
 * Analog
 * Input
 * Output
 * EVENT_OUT
 * EXTI
 PA9   ------> USB_OTG_FS_VBUS
 PA10   ------> USB_OTG_FS_ID
 PA11   ------> USB_OTG_FS_DM
 PA12   ------> USB_OTG_FS_DP
 */
static void MX_GPIO_Init(void) {

	GPIO_InitTypeDef GPIO_InitStruct;

	/* GPIO Ports Clock Enable */
	__HAL_RCC_GPIOE_CLK_ENABLE()
	;
	__HAL_RCC_GPIOC_CLK_ENABLE()
	;
	__HAL_RCC_GPIOH_CLK_ENABLE()
	;
	__HAL_RCC_GPIOA_CLK_ENABLE()
	;
	__HAL_RCC_GPIOB_CLK_ENABLE()
	;
	__HAL_RCC_GPIOD_CLK_ENABLE()
	;

	/*Configure GPIO pin Output Level */
	HAL_GPIO_WritePin(CS_I2C_SPI_GPIO_Port, CS_I2C_SPI_Pin, GPIO_PIN_RESET);

	/*Configure GPIO pin Output Level */
	HAL_GPIO_WritePin(OTG_FS_PowerSwitchOn_GPIO_Port, OTG_FS_PowerSwitchOn_Pin,
			GPIO_PIN_SET);

	/*Configure GPIO pin Output Level */
	HAL_GPIO_WritePin(GPIOD,
	LD4_Pin | LD3_Pin | LD5_Pin | LD6_Pin | Audio_RST_Pin, GPIO_PIN_RESET);

	/*Configure GPIO pin : CS_I2C_SPI_Pin */
	GPIO_InitStruct.Pin = CS_I2C_SPI_Pin;
	GPIO_InitStruct.Mode = GPIO_MODE_OUTPUT_PP;
	GPIO_InitStruct.Pull = GPIO_NOPULL;
	GPIO_InitStruct.Speed = GPIO_SPEED_FREQ_LOW;
	HAL_GPIO_Init(CS_I2C_SPI_GPIO_Port, &GPIO_InitStruct);

	/*Configure GPIO pin : OTG_FS_PowerSwitchOn_Pin */
	GPIO_InitStruct.Pin = OTG_FS_PowerSwitchOn_Pin;
	GPIO_InitStruct.Mode = GPIO_MODE_OUTPUT_PP;
	GPIO_InitStruct.Pull = GPIO_NOPULL;
	GPIO_InitStruct.Speed = GPIO_SPEED_FREQ_LOW;
	HAL_GPIO_Init(OTG_FS_PowerSwitchOn_GPIO_Port, &GPIO_InitStruct);

	/*Configure GPIO pin : BOOT1_Pin */
	GPIO_InitStruct.Pin = BOOT1_Pin;
	GPIO_InitStruct.Mode = GPIO_MODE_INPUT;
	GPIO_InitStruct.Pull = GPIO_NOPULL;
	HAL_GPIO_Init(BOOT1_GPIO_Port, &GPIO_InitStruct);

	/*Configure GPIO pins : LD4_Pin LD3_Pin LD5_Pin LD6_Pin
	 Audio_RST_Pin */
	GPIO_InitStruct.Pin = LD4_Pin | LD3_Pin | LD5_Pin | LD6_Pin | Audio_RST_Pin;
	GPIO_InitStruct.Mode = GPIO_MODE_OUTPUT_PP;
	GPIO_InitStruct.Pull = GPIO_NOPULL;
	GPIO_InitStruct.Speed = GPIO_SPEED_FREQ_LOW;
	HAL_GPIO_Init(GPIOD, &GPIO_InitStruct);

	/*Configure GPIO pin : VBUS_FS_Pin */
	GPIO_InitStruct.Pin = VBUS_FS_Pin;
	GPIO_InitStruct.Mode = GPIO_MODE_INPUT;
	GPIO_InitStruct.Pull = GPIO_NOPULL;
	HAL_GPIO_Init(VBUS_FS_GPIO_Port, &GPIO_InitStruct);

	/*Configure GPIO pins : OTG_FS_ID_Pin OTG_FS_DM_Pin OTG_FS_DP_Pin */
	GPIO_InitStruct.Pin = OTG_FS_ID_Pin | OTG_FS_DM_Pin | OTG_FS_DP_Pin;
	GPIO_InitStruct.Mode = GPIO_MODE_AF_PP;
	GPIO_InitStruct.Pull = GPIO_NOPULL;
	GPIO_InitStruct.Speed = GPIO_SPEED_FREQ_LOW;
	GPIO_InitStruct.Alternate = GPIO_AF10_OTG_FS;
	HAL_GPIO_Init(GPIOA, &GPIO_InitStruct);

	/*Configure GPIO pin : OTG_FS_OverCurrent_Pin */
	GPIO_InitStruct.Pin = OTG_FS_OverCurrent_Pin;
	GPIO_InitStruct.Mode = GPIO_MODE_INPUT;
	GPIO_InitStruct.Pull = GPIO_NOPULL;
	HAL_GPIO_Init(OTG_FS_OverCurrent_GPIO_Port, &GPIO_InitStruct);

	/*Configure GPIO pin : MEMS_INT1_Pin */
	GPIO_InitStruct.Pin = MEMS_INT1_Pin;
	GPIO_InitStruct.Mode = GPIO_MODE_IT_RISING;
	GPIO_InitStruct.Pull = GPIO_NOPULL;
	HAL_GPIO_Init(MEMS_INT1_GPIO_Port, &GPIO_InitStruct);

	/*Configure GPIO pin : MEMS_INT2_Pin */
	GPIO_InitStruct.Pin = MEMS_INT2_Pin;
	GPIO_InitStruct.Mode = GPIO_MODE_EVT_RISING;
	GPIO_InitStruct.Pull = GPIO_NOPULL;
	HAL_GPIO_Init(MEMS_INT2_GPIO_Port, &GPIO_InitStruct);

}

void Error_Handler(void) {
	while (1) {
	}
}

/************************ (C) COPYRIGHT STMicroelectronics *****END OF FILE****/
